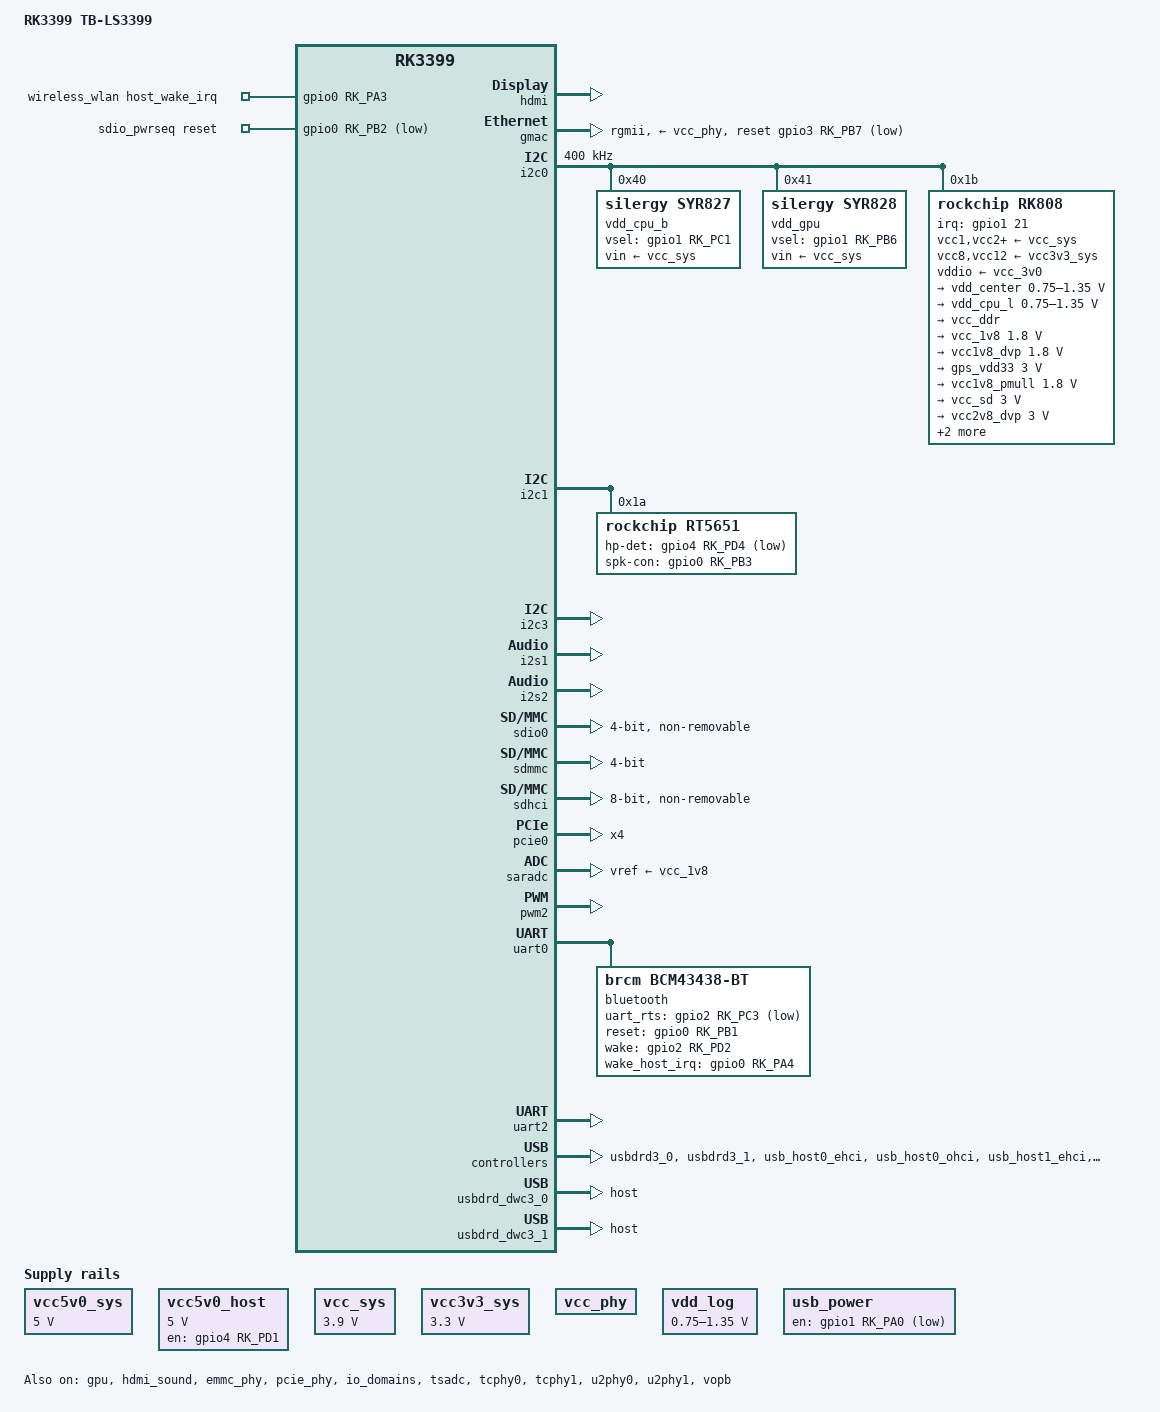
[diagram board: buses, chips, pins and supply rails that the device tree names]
/dts-v1/;
#include <dt-bindings/input/input.h>
#include <dt-bindings/pwm/pwm.h>
#include "rk3399.dtsi"
#include "rk3399-opp.dtsi"

/ {
	model = "RK3399 TB-LS3399";
	compatible = "rockchip,rk3399-tb-ls3399", "rockchip,rk3399";

	aliases {
		mmc0 = &sdmmc;
		mmc1 = &sdhci;
	};

	// fiq_debugger: fiq-debugger {
	// 	compatible = "rockchip,fiq-debugger";
	// 	rockchip,serial-id = <2>;
	// 	rockchip,signal-irq = <182>;
	// 	rockchip,wake-irq = <0>;
	// 	rockchip,irq-mode-enable = <1>;
	// 	rockchip,baudrate = <1500000>;
	// 	pinctrl-names = "default";
	// 	pinctrl-0 = <&uart2c_xfer>;
	// };

	clkin_gmac: clkin-gmac {
		compatible = "fixed-clock";
		clock-frequency = <125000000>;
		clock-output-names = "clkin_gmac";
		#clock-cells = <0>;
	};

	vcc5v0_sys: vcc5v0-sys {
		compatible = "regulator-fixed";
		regulator-name = "vcc5v0_sys";
		regulator-min-microvolt = <5000000>;
		regulator-max-microvolt = <5000000>;
		regulator-always-on;
		regulator-boot-on;
	};

	vcc5v0_host: vcc5v0-host {
		compatible = "regulator-fixed";
		regulator-name = "vcc5v0_host";
		regulator-min-microvolt = <5000000>;
		regulator-max-microvolt = <5000000>;
		gpio = <&gpio4 RK_PD1 GPIO_ACTIVE_HIGH>;
		regulator-always-on;
		enable-active-high;
	};

	vcc_sys: vcc-sys {
		compatible = "regulator-fixed";
		regulator-name = "vcc_sys";
		regulator-min-microvolt = <3900000>;
		regulator-max-microvolt = <3900000>;
		regulator-always-on;
		regulator-boot-on;
	};

	vcc3v3_sys: vcc3v3-sys {
		compatible = "regulator-fixed";
		regulator-name = "vcc3v3_sys";
		regulator-min-microvolt = <3300000>;
		regulator-max-microvolt = <3300000>;
		regulator-always-on;
		regulator-boot-on;
	};

	vcc_phy: vcc-phy {
		compatible = "regulator-fixed";
		regulator-name = "vcc_phy";
		regulator-always-on;
		regulator-boot-on;
	};

	vdd_log: vdd-log  {
		compatible = "pwm-regulator";
		regulator-name = "vdd_log";
		pwms = <&pwm2 0 25000 1>;
		regulator-min-microvolt = <750000>;
		regulator-max-microvolt = <1350000>;
		rockchip,pwm_voltage = <900000>;
		rockchip,pwm_id = <2>;
		regulator-always-on;
		regulator-boot-on;
	};

	usb_power: usb-power {
		compatible = "regulator-fixed";
		regulator-name = "usb_power";
		gpio = <&gpio1 RK_PA0 GPIO_ACTIVE_HIGH>;
	};

	rt5651_sound: rt5651-sound {
		compatible = "simple-audio-card";
		simple-audio-card,name = "realtek,rt5651-codec";
		simple-audio-card,format = "i2s";
		simple-audio-card,mclk-fs = <256>;
		simple-audio-card,widgets =
			"Microphone", "Mic Jack",
			"Headphone", "Headphone Jack";
		simple-audio-card,routing =
			"Mic Jack", "MICBIAS1",
			"IN1P", "Mic Jack",
			"Headphone Jack", "HPOL",
			"Headphone Jack", "HPOR";
		simple-audio-card,cpu {
			sound-dai = <&i2s1>;
		};
		simple-audio-card,codec {
			sound-dai = <&rt5651>;
		};
	};

	wireless_wlan: wireless-wlan {
		compatible = "wlan-platdata";
		rockchip,grf = <&grf>;
		wifi_chip_type = "ap6212";
		WIFI,host_wake_irq = <&gpio0 RK_PA3 GPIO_ACTIVE_HIGH>;
		status = "okay";
	};

	sdio_pwrseq: sdio-pwrseq {
		compatible = "mmc-pwrseq-simple";
		clocks = <&rk808 1>;
		clock-names = "ext_clock";
		reset-gpios = <&gpio0 RK_PB2 GPIO_ACTIVE_LOW>;
	};
};

&cpu_l0 {
	cpu-supply = <&vdd_cpu_l>;
};

&cpu_l1 {
	cpu-supply = <&vdd_cpu_l>;
};

&cpu_l2 {
	cpu-supply = <&vdd_cpu_l>;
};

&cpu_l3 {
	cpu-supply = <&vdd_cpu_l>;
};

&cpu_b0 {
	cpu-supply = <&vdd_cpu_b>;
};

&cpu_b1 {
	cpu-supply = <&vdd_cpu_b>;
};

&gpu {
	mali-supply = <&vdd_gpu>;
	status = "okay";
};

&hdmi {
	pinctrl-names = "default";
	pinctrl-0 = <&hdmi_cec>;
	ddc-i2c-bus = <&i2c3>;
	status = "okay";
};

&hdmi_sound {
	status = "okay";
};

&gmac {
	phy-supply = <&vcc_phy>;
	phy-mode = "rgmii";
	clock_in_out = "input";
	snps,reset-gpio = <&gpio3 RK_PB7 GPIO_ACTIVE_LOW>;
	snps,reset-active-low;
	snps,reset-delays-us = <0 10000 50000>;
	assigned-clocks = <&cru SCLK_RMII_SRC>;
	assigned-clock-parents = <&clkin_gmac>;
	pinctrl-names = "default";
	pinctrl-0 = <&rgmii_pins>;
	tx_delay = <0x23>;
	rx_delay = <0x26>;
	status = "okay";
};

&i2c0 {
	i2c-scl-rising-time-ns = <180>;
	i2c-scl-falling-time-ns = <30>;
	clock-frequency = <400000>;
	status = "okay";

	vdd_cpu_b: syr837@40 {
		compatible = "silergy,syr827";
		regulator-compatible = "fan53555-reg";
		regulator-name = "vdd_cpu_b";
		vsel-gpios = <&gpio1 RK_PC1 GPIO_ACTIVE_HIGH>;
		vin-supply = <&vcc_sys>;
		regulator-min-microvolt = <712500>;
		regulator-max-microvolt = <1500000>;
		fcs,suspend-voltage-selector = <1>;
		regulator-initial-state = <3>;
		regulator-ramp-delay = <1000>;
		regulator-always-on;
		reg = <0x40>;

		regulator-state-mem {
			regulator-off-in-suspend;
		};
	};

	vdd_gpu: syr828@41 {
		compatible = "silergy,syr828";
		regulator-compatible = "fan53555-reg";
		regulator-name = "vdd_gpu";
		vsel-gpios = <&gpio1 RK_PB6 GPIO_ACTIVE_HIGH>;
		vin-supply = <&vcc_sys>;
		regulator-min-microvolt = <735000>;
		regulator-max-microvolt = <1400000>;
		fcs,suspend-voltage-selector = <1>;
		regulator-ramp-delay = <1000>;
		regulator-always-on;
		regulator-boot-on;
		reg = <0x41>;
		status = "okay";

		regulator-state-mem {
			regulator-off-in-suspend;
		};
	};

	rk808: pmic@1b {
		compatible = "rockchip,rk808";
		reg = <0x1b>;
		interrupt-parent = <&gpio1>;
		interrupts = <21 IRQ_TYPE_LEVEL_LOW>;
		rockchip,system-power-controller;
		wakeup-source;
		#clock-cells = <1>;
		clock-output-names = "rk808-clkout1", "rk808-clkout2";
		vcc1-supply = <&vcc_sys>;
		vcc2-supply = <&vcc_sys>;
		vcc3-supply = <&vcc_sys>;
		vcc4-supply = <&vcc_sys>;
		vcc6-supply = <&vcc_sys>;
		vcc7-supply = <&vcc_sys>;
		vcc8-supply = <&vcc3v3_sys>;
		vcc9-supply = <&vcc_sys>;
		vcc10-supply = <&vcc_sys>;
		vcc11-supply = <&vcc_sys>;
		vcc12-supply = <&vcc3v3_sys>;
		vddio-supply = <&vcc_3v0>;

		regulators {

			vdd_center: DCDC_REG1 {
				regulator-always-on;
				regulator-boot-on;
				regulator-min-microvolt = <750000>;
				regulator-max-microvolt = <1350000>;
				regulator-ramp-delay = <6001>;
				regulator-name = "vdd_center";

				regulator-state-mem {
					regulator-off-in-suspend;
				};
			};

			vdd_cpu_l: DCDC_REG2 {
				regulator-always-on;
				regulator-boot-on;
				regulator-min-microvolt = <750000>;
				regulator-max-microvolt = <1350000>;
				regulator-ramp-delay = <6001>;
				regulator-name = "vdd_cpu_l";

				regulator-state-mem {
					regulator-off-in-suspend;
				};
			};

			vcc_ddr: DCDC_REG3 {
				regulator-always-on;
				regulator-boot-on;
				regulator-name = "vcc_ddr";

				regulator-state-mem {
					regulator-on-in-suspend;
				};
			};

			vcc_1v8: DCDC_REG4 {
				regulator-always-on;
				regulator-boot-on;
				regulator-min-microvolt = <1800000>;
				regulator-max-microvolt = <1800000>;
				regulator-name = "vcc_1v8";

				regulator-state-mem {
					regulator-on-in-suspend;
					regulator-suspend-microvolt = <1800000>;
				};
			};

			vcc1v8_dvp: LDO_REG1 {
				regulator-always-on;
				regulator-boot-on;
				regulator-min-microvolt = <1800000>;
				regulator-max-microvolt = <1800000>;
				regulator-name = "vcc1v8_dvp";

				regulator-state-mem {
					regulator-off-in-suspend;
				};
			};

			gps_vdd33: LDO_REG2 {
				regulator-always-on;
				regulator-boot-on;
				regulator-min-microvolt = <3000000>;
				regulator-max-microvolt = <3000000>;
				regulator-name = "gps_vdd33";

				regulator-state-mem {
					regulator-on-in-suspend;
				};
			};

			vcc1v8_pmull: LDO_REG3 {
				regulator-always-on;
				regulator-boot-on;
				regulator-min-microvolt = <1800000>;
				regulator-max-microvolt = <1800000>;
				regulator-name = "vcc1v8_pmull";

				regulator-state-mem {
					regulator-on-in-suspend;
					regulator-suspend-microvolt = <1800000>;
				};
			};

			vcc_sd: LDO_REG4 {
				regulator-always-on;
				regulator-boot-on;
				regulator-min-microvolt = <3000000>;
				regulator-max-microvolt = <3000000>;
				regulator-name = "vcc_sd";

				regulator-state-mem {
					regulator-on-in-suspend;
					regulator-suspend-microvolt = <3000000>;
				};
			};

			vcc2v8_dvp: LDO_REG5 {
				regulator-always-on;
				regulator-boot-on;
				regulator-min-microvolt = <3000000>;
				regulator-max-microvolt = <3000000>;
				regulator-name = "vcc2v8_dvp";

				regulator-state-mem {
					regulator-off-in-suspend;
				};
			};

			vcc_1v5: LDO_REG6 {
				regulator-always-on;
				regulator-boot-on;
				regulator-min-microvolt = <1500000>;
				regulator-max-microvolt = <1500000>;
				regulator-name = "vcc_1v5";

				regulator-state-mem {
					regulator-on-in-suspend;
					regulator-suspend-microvolt = <1500000>;
				};
			};

			vcca1v8_codec: LDO_REG7 {
				regulator-always-on;
				regulator-boot-on;
				regulator-min-microvolt = <1800000>;
				regulator-max-microvolt = <1800000>;
				regulator-name = "vcca1v8_codec";

				regulator-state-mem {
					regulator-off-in-suspend;
				};
			};

			vcc_3v0: LDO_REG8 {
				regulator-always-on;
				regulator-boot-on;
				regulator-min-microvolt = <3000000>;
				regulator-max-microvolt = <3000000>;
				regulator-name = "vcc_3v0";

				regulator-state-mem {
					regulator-on-in-suspend;
					regulator-suspend-microvolt = <3000000>;
				};
			};

			vcc3v3_s3: SWITCH_REG1 {
				regulator-always-on;
				regulator-boot-on;
				regulator-name = "vcc3v3_s3";

				regulator-state-mem {
					regulator-off-in-suspend;
				};
			};

			vcc3v3_s0: SWITCH_REG2 {
				regulator-boot-on;
				regulator-always-on;
				regulator-name = "vcc3v3_s0";

				regulator-state-mem {
					regulator-off-in-suspend;
				};
			};
		};
	};
};

&i2c1 {
	i2c-scl-rising-time-ns = <140>;
	i2c-scl-falling-time-ns = <30>;
	status = "okay";

	rt5651: rt5651@1a {
		compatible = "rockchip,rt5651"; 
		reg = <0x1a>;
		clocks = <&cru SCLK_I2S_8CH_OUT>;
		clock-names = "mclk";
		hp-det-gpio = <&gpio4 RK_PD4 GPIO_ACTIVE_LOW>;
		spk-con-gpio = <&gpio0 RK_PB3 GPIO_ACTIVE_HIGH>;
		#sound-dai-cells = <0>;
	};
};

&i2c3 {
	i2c-scl-rising-time-ns = <450>;
	i2c-scl-falling-time-ns = <15>;
	rockchip,defaultmode = <16>;
	status = "okay";
};

&i2s1 {
	rockchip,playback-channels = <8>;
	rockchip,capture-channels = <8>;
	#sound-dai-cells = <0>;
	status = "okay";
};

&i2s2 {
	status = "okay";
};

&sdio0 {
	num-slots = <1>;
	bus-width = <4>;
	cap-sd-highspeed;
	cap-sdio-irq;
	disable-wp;
	supports-sdio;
	keep-power-in-suspend;
	non-removable;
	mmc-pwrseq = <&sdio_pwrseq>;
	pinctrl-names = "default";
	pinctrl-0 = <&sdio0_bus4 &sdio0_cmd &sdio0_clk>;
	status = "okay";
};

&sdmmc {
	num-slots = <1>;
	bus-width = <4>;
	supports-sd;
	cap-mmc-highspeed;
	cap-sd-highspeed;
	disable-wp;
	pinctrl-names = "default";
	pinctrl-0 = <&sdmmc_clk &sdmmc_cmd &sdmmc_cd &sdmmc_bus4>;
	vqmmc-supply = <&vcc_sd>;
	status = "okay";
};

&sdhci {
	bus-width = <8>;
	supports-emmc;
	non-removable;
	mmc-hs200-1_8v;
	mmc-hs400-1_8v;
	keep-power-in-suspend;
	mmc-hs400-enhanced-strobe;
	status = "okay";
};

&emmc_phy {
	status = "okay";
};

&pcie_phy {
	status = "okay";
};

&pcie0 {
	num-lanes = <4>;
	pinctrl-0 = <&pcie_clkreqnb_cpm>;
	pinctrl-names = "default";
	status = "okay";
};

&io_domains {
	bt656-supply = <&vcc1v8_dvp>;
	audio-supply = <&vcca1v8_codec>;
	sdmmc-supply = <&vcc_sd>;
	gpio1830-supply = <&vcc_3v0>;
	status = "okay";
};

&pmu_io_domains {
	pmu1830-supply = <&vcc_3v0>;
	status = "okay";
};

&saradc {
	vref-supply = <&vcc_1v8>;
	status = "okay";
};

&tsadc {
	rockchip,hw-tshut-mode = <1>;
	rockchip,hw-tshut-polarity = <1>;
	rockchip,hw-tshut-temp = <120000>;
	status = "okay";
};

&pwm2 {
	status = "okay";
};

&uart0 {
	pinctrl-names = "default";
	pinctrl-0 = <&uart0_xfer>, <&uart0_cts>, <&uart0_rts>;
	uart-has-rtscts;
	status = "okay";

	bluetooth {
		compatible = "brcm,bcm43438-bt";
		clocks = <&rk808 1>;
		clock-names = "lpo";
		uart_rts_gpios = <&gpio2 RK_PC3 GPIO_ACTIVE_LOW>;
		BT,reset_gpio = <&gpio0 RK_PB1 GPIO_ACTIVE_HIGH>;
		BT,wake_gpio = <&gpio2 RK_PD2 GPIO_ACTIVE_HIGH>;
		BT,wake_host_irq = <&gpio0 RK_PA4 GPIO_ACTIVE_HIGH>;
		status = "okay";
	};
};

&uart2 {
	status = "okay";
};

&tcphy0 {
	status = "okay";
};

&tcphy1 {
	status = "okay";
};

&u2phy0 {
	status = "okay";

	u2phy0_otg: otg-port {
		status = "okay";
	};

	u2phy0_host: host-port {
		phy-supply = <&vcc5v0_host>;
		status = "okay";
	};
};

&u2phy1 {
	status = "okay";

	u2phy1_otg: otg-port {
		status = "okay";
	};

	u2phy1_host: host-port {
		phy-supply = <&vcc5v0_host>;
		status = "okay";
	};
};

&usbdrd3_0 {
	extcon = <&u2phy0>;
	status = "okay";
};

&usbdrd_dwc3_0 {
	dr_mode = "host";
	status = "okay";
};

&usbdrd3_1 {
	status = "okay";
};

&usbdrd_dwc3_1 {
	dr_mode = "host";
	status = "okay";
};

&usb_host0_ehci {
	status = "okay";
};

&usb_host0_ohci {
	status = "okay";
};

&usb_host1_ehci {
	status = "okay";
};

&usb_host1_ohci {
	status = "okay";
};

&vdec_mmu {
	status = "okay";
};

&vpu_mmu {
	status = "okay";
};

&vopb {
	status = "okay";
};

&vopb_mmu {
	status = "okay";
};

&vopl {
	status = "disable";
};

&vopl_mmu {
	status = "okay";
};
